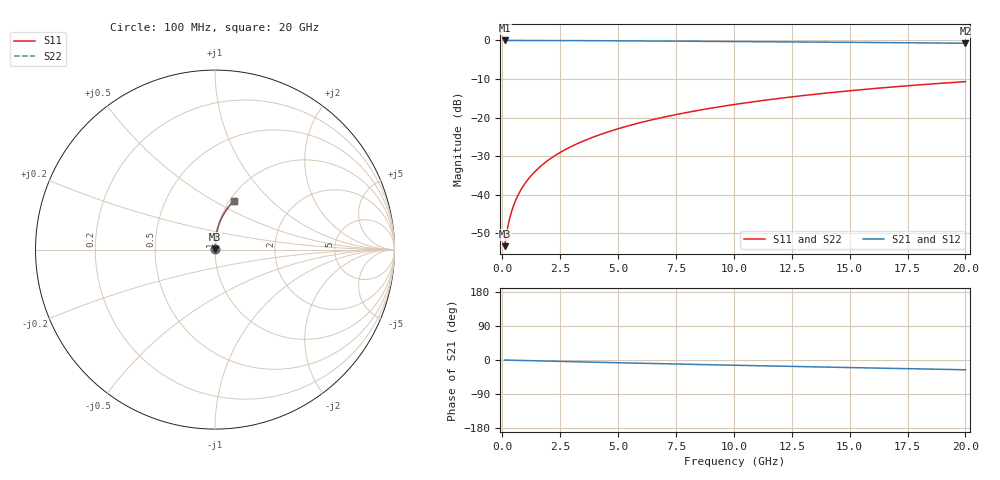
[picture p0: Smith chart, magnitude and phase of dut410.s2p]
! Touchstone file exported from HFSS 2024.1.0
!  File:  C:/UserFiles/LocalFiles/RDL_TSV_Batchsim/temp_RDL_top_410_1779675546.aedt
!  Generated:  10:21:21 AM May 25, 2026
!  Design:  RDL_top
!  Project:  temp_RDL_top_410_1779675546
!  Setup:  Setup1
!  Solution:  Sweep
! Variables:
!  dtsv = 10.80580581um
!  hbump = 3um
!  htsv = 73.57um
!  ldown = 100um
!  lrdl = 311.46um
!  p = 40
!  p1 = 55.82um
!  rhole = 1um
!  t = 450um
!  tdown = 3.915915916um
!  trdl = 4.13um
!  wdown = 15.38538539um
!  wrdl = 18.98um
# GHz S MA R 50.000000
! Terminal data exported
! Port[1] = Box2_T1
! Port[2] = Box2_T2
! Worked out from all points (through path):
!   200 points, 100 MHz to 20 GHz, reference 50 ohm
!   highest |S21| = -0.01 dB at 100 MHz (marker M1); lowest = -0.7 dB at 20 GHz (marker M2)
!   group delay of S21, straight-line fit = 3.56 ps
!   lowest |S11| = -53.3 dB at 100 MHz (marker M3), VSWR 1.00, Z = 50.2 + j0.149 ohm
!   |S11| at or under -10 dB: start of sweep to end of sweep
!   |S22| runs from -53.3 to -10.7 dB; largest |S21 - S12| = 5.2e-15
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0.1  0.002162 43.5  0.9984 -0.2  0.9984 -0.2  0.002162 43.5
! Gamma 0 0 0 0
! Port Impedance 50 0 50 0
0.2  0.003371 61.2  0.9984 -0.3  0.9984 -0.3  0.003371 61.2
0.3  0.004705 69.0  0.9983 -0.5  0.9983 -0.5  0.004705 69.0
0.4  0.006064 73.2  0.9982 -0.6  0.9982 -0.6  0.006063 73.2
0.5  0.007428 75.9  0.9981 -0.8  0.9981 -0.8  0.007428 75.9
0.6  0.008795 77.8  0.998 -0.9  0.998 -0.9  0.008795 77.8
0.8  0.01154 80.3  0.9978 -1.2  0.9978 -1.2  0.01154 80.3
1.1  0.01569 82.5  0.9975 -1.6  0.9975 -1.6  0.01569 82.5
1.5  0.02126 84.1  0.997 -2.2  0.997 -2.2  0.02126 84.1
1.8  0.02547 84.8  0.9966 -2.7  0.9966 -2.7  0.02547 84.8
2.1  0.0297 85.2  0.996 -3.1  0.996 -3.1  0.0297 85.2
2.7  0.03823 85.7  0.9948 -4.0  0.9948 -4.0  0.03823 85.7
3.5  0.04974 85.9  0.9927 -5.1  0.9927 -5.1  0.04974 85.9
4.2  0.05993 85.7  0.9905 -6.1  0.9905 -6.1  0.05993 85.7
5  0.07173 85.4  0.9878 -7.2  0.9878 -7.2  0.07173 85.4
5.9  0.08516 84.8  0.9845 -8.5  0.9845 -8.5  0.08516 84.8
6.8  0.09874 84.1  0.9809 -9.7  0.9809 -9.7  0.09874 84.1
8.4  0.1231 82.6  0.9743 -11.8  0.9743 -11.8  0.1231 82.6
10.1  0.1491 80.7  0.9669 -14.0  0.9669 -14.0  0.1491 80.7
13.4  0.199 76.7  0.9519 -18.0  0.9519 -18.0  0.199 76.7
16.7  0.2471 72.6  0.9361 -22.0  0.9361 -22.0  0.2471 72.6
20  0.2926 68.5  0.9195 -25.8  0.9195 -25.8  0.2926 68.5
